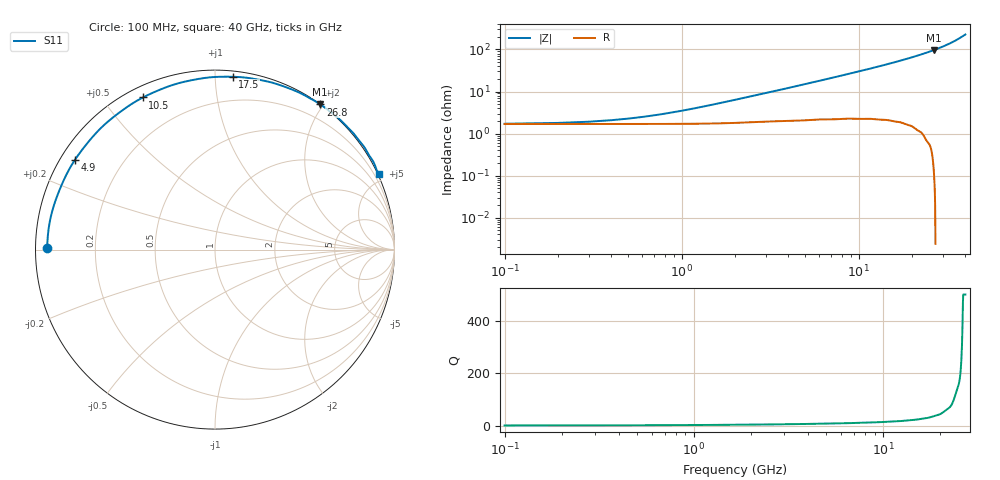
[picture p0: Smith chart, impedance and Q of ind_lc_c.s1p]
#  Hz  S  RI  R  50
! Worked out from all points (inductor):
!   400 points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, 100 MHz to 40 GHz, reference 50 ohm
!   read as one part to ground: L = 483 pH near 1.8 GHz
!   highest Q = 1.18e+03 at 26.7 GHz (marker M1), where L = 581 pH
!   S11 on the Smith chart (normalised r, x): 100 MHz: 0.03, +0.01; 4.9 GHz: 0.04, +0.29; 10.5 GHz: 0.04, +0.63; 17.5 GHz: 0.04, +1.11; 26.8 GHz: 0.00, +1.96; 40 GHz: -0.07, +4.55
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1e8  -0.9346 0.0114
1.1e9  -0.9257 0.125
2.2e9  -0.8978 0.2454
3.7e9  -0.8397 0.3932
4.9e9  -0.7792 0.5019
5.1e9  -0.7678 0.5186
6.4e9  -0.6902 0.6184
7.6e9  -0.6109 0.7006
8.8e9  -0.5262 0.7685
1.01e10  -0.4319 0.8312
1.05e10  -0.4018 0.8476
1.16e10  -0.32 0.8854
1.28e10  -0.2312 0.9188
1.38e10  -0.1571 0.9383
1.51e10  -0.0646 0.9553
1.61e10  0.0058 0.9621
1.75e10  0.099 0.9629
1.86e10  0.1698 0.9583
2.01e10  0.2599 0.9435
2.23e10  0.3817 0.9098
2.51e10  0.5161 0.8504
2.67e10  0.5834 0.8113
2.68e10  0.5874 0.8087
3.01e10  0.7041 0.7166
3.25e10  0.773 0.646
3.51e10  0.834 0.5677
3.79e10  0.8857 0.4826
4e10  0.9137 0.4221
